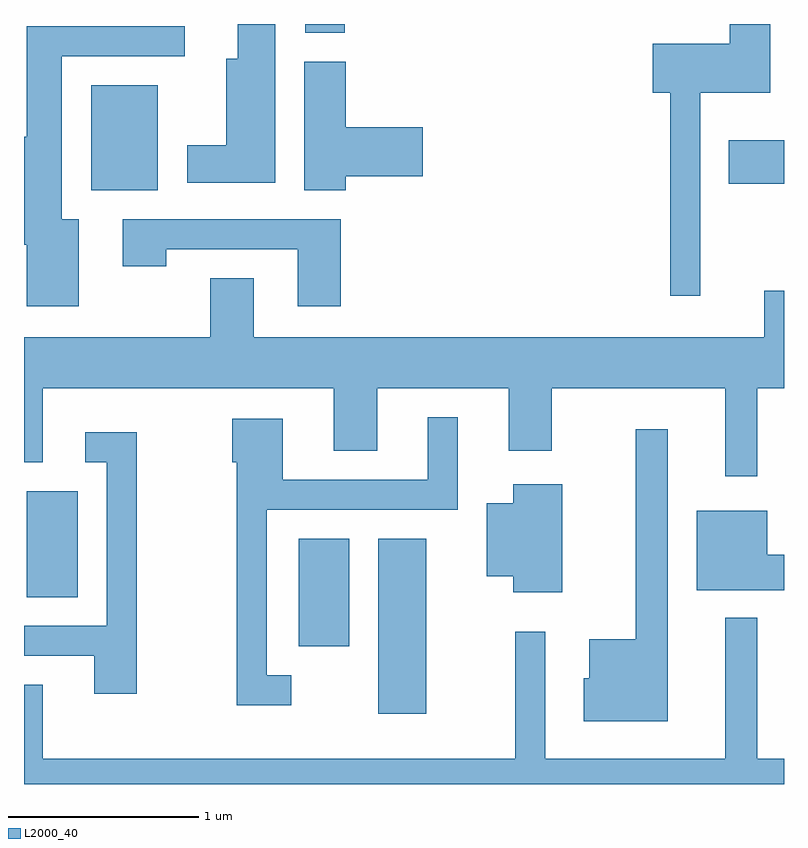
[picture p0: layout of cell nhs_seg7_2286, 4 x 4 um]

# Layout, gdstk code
import gdstk
lib = gdstk.Library(unit=1e-6, precision=1e-09)
def R(c, l, rs):  # rectangles x0, y0, x1, y1
    for r in rs: c.add(gdstk.rectangle(r[:2], r[2:], *l))
def P(c, l, *ps):  # polygons
    for p in ps: c.add(gdstk.Polygon(p, *l))
L2000_40 = (2000, 40)

nhs_seg7_2286 = lib.new_cell('nhs_seg7_2286')
R(nhs_seg7_2286, L2000_40, [(257.476,1692.621,257.729,1693.544), (257.056,1692.976,257.324,1693.544), (255.626,1693.236,255.894,1693.794), (255.966,1695.376,256.314,1695.929), (259.321,1695.411,259.611,1695.639), (257.091,1696.206,257.299,1696.252)])
P(nhs_seg7_2286, L2000_40, [(256.934,1696.252),(256.736,1696.252),(256.736,1696.069),(256.676,1696.069),(256.676,1695.614),(256.471,1695.614),(256.471,1695.416),(256.934,1695.416)],
  [(259.169,1695.891),(259.539,1695.891),(259.539,1696.252),(259.326,1696.252),(259.326,1696.149),(258.921,1696.149),(258.921,1695.891),(259.011,1695.891),(259.011,1694.823),(259.169,1694.823)],
  [(255.899,1695.224),(255.809,1695.224),(255.809,1696.081),(256.457,1696.081),(256.457,1696.239),(255.626,1696.239),(255.626,1695.659),(255.611,1695.659),(255.611,1695.091),(255.626,1695.091),(255.626,1694.766),(255.899,1694.766)],
  [(257.304,1695.451),(257.709,1695.451),(257.709,1695.709),(257.304,1695.709),(257.304,1696.054),(257.086,1696.054),(257.086,1695.376),(257.304,1695.376)],
  [(257.279,1695.224),(256.131,1695.224),(256.131,1694.976),(256.359,1694.976),(256.359,1695.066),(257.051,1695.066),(257.051,1694.766),(257.279,1694.766)],
  [(259.469,1694.336),(259.611,1694.336),(259.611,1694.848),(259.506,1694.848),(259.506,1694.604),(256.819,1694.604),(256.819,1694.914),(256.591,1694.914),(256.591,1694.604),(255.611,1694.604),(255.611,1693.946),(255.709,1693.946),(255.709,1694.336),(257.241,1694.336),(257.241,1694.006),(257.469,1694.006),(257.469,1694.336),(258.161,1694.336),(258.161,1694.006),(258.389,1694.006),(258.389,1694.336),(259.301,1694.336),(259.301,1693.873),(259.469,1693.873)],
  [(257.017,1692.824),(256.889,1692.824),(256.889,1693.696),(257.894,1693.696),(257.894,1694.183),(257.736,1694.183),(257.736,1693.854),(256.974,1693.854),(256.974,1694.174),(256.706,1694.174),(256.706,1693.946),(256.731,1693.946),(256.731,1692.666),(257.017,1692.666)],
  [(258.999,1694.118),(258.831,1694.118),(258.831,1693.014),(258.586,1693.014),(258.586,1692.809),(258.556,1692.809),(258.556,1692.581),(258.999,1692.581)],
  [(256.204,1694.104),(255.933,1694.104),(255.933,1693.946),(256.046,1693.946),(256.046,1693.084),(255.611,1693.084),(255.611,1692.926),(255.981,1692.926),(255.981,1692.726),(256.204,1692.726)],
  [(258.444,1693.829),(258.186,1693.829),(258.186,1693.729),(258.046,1693.729),(258.046,1693.346),(258.186,1693.346),(258.186,1693.261),(258.444,1693.261)],
  [(259.611,1693.459),(259.524,1693.459),(259.524,1693.689),(259.151,1693.689),(259.151,1693.271),(259.611,1693.271)],
  [(259.611,1692.384),(259.469,1692.384),(259.469,1693.128),(259.301,1693.128),(259.301,1692.384),(258.354,1692.384),(258.354,1693.053),(258.196,1693.053),(258.196,1692.384),(255.709,1692.384),(255.709,1692.774),(255.611,1692.774),(255.611,1692.252),(259.611,1692.252)])

lib.write_gds('nhs_seg7_2286.gds')
